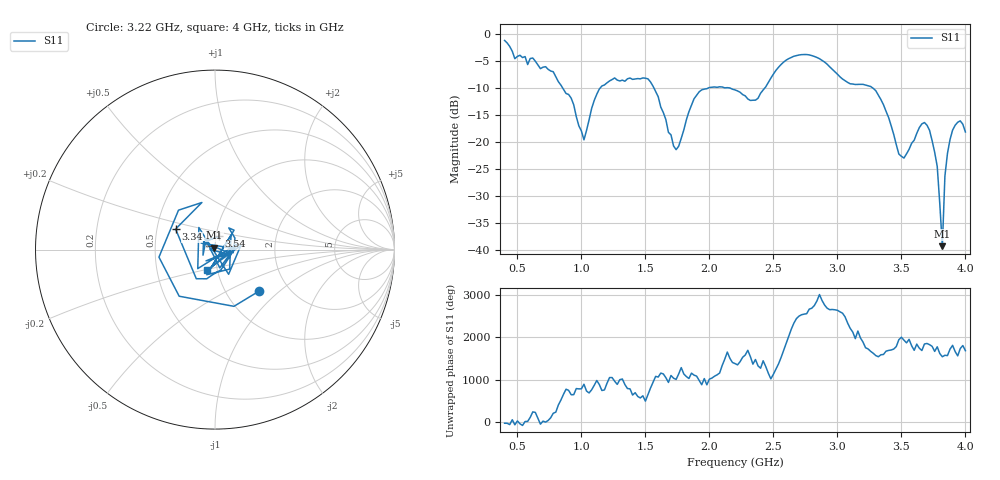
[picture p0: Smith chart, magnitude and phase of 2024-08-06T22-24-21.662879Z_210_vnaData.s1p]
!Created with skrf (http://scikit-rf.org).
# Hz S RI R 50.0
!freq ReS11 ImS11
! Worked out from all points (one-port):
!   181 points, 400 MHz to 4 GHz, reference 50 ohm
!   lowest |S11| = -39.4 dB at 3.82 GHz (marker M1), VSWR 1.02, Z = 49.7 + j1.03 ohm
!   |S11| at or under -10 dB: 854.4 MHz to 1.146 GHz (291.1 MHz wide, 29.1 % of centre); 1.567 GHz to 1.989 GHz (421.6 MHz wide, 23.7 % of centre); 3.278 GHz to end of sweep (the widest 3 of 4)
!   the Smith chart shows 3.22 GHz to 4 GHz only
!   S11 on the Smith chart (normalised r, x): 3.22 GHz: 1.43, -0.74; 3.34 GHz: 0.63, +0.15; 3.54 GHz: 1.04, +0.15; 4 GHz: 0.89, -0.21
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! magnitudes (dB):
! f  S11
! 400 MHz  -1.1
! 860 MHz  -10.2
! 920 MHz  -11.9
! 1.02 GHz  -19.6
! 1.14 GHz  -10.2
! 1.3 GHz  -8.7
! 1.52 GHz  -8.3
! 1.72 GHz  -20.7
! 1.76 GHz  -20.8
! 1.92 GHz  -10.7
! 2.2 GHz  -10.3
! 2.36 GHz  -12.2
! 2.66 GHz  -4.1
! 2.86 GHz  -4.5
! 3.1 GHz  -9.2
! 3.22 GHz  -9.4
! 3.34 GHz  -12.1
! 3.48 GHz  -22.2
! 3.54 GHz  -22.2
! 3.56 GHz  -21.4
! 3.66 GHz  -16.6
! 3.72 GHz  -17.8
! 3.78 GHz  -24.5
! 3.82 GHz  -39.4
! 3.84 GHz  -26.3
! 3.88 GHz  -19.5
! 3.96 GHz  -16.1
! 4 GHz  -18.1
